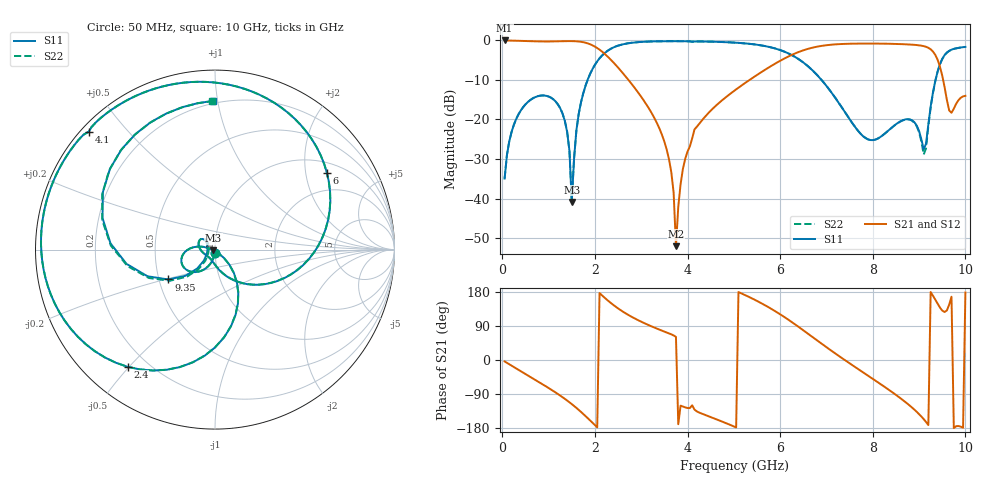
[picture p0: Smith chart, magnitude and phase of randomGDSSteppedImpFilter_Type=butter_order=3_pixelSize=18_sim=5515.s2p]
! freq	dB(S11)	phase(S11)	dB(S12)	phase(S12)
!  dB(S21)	phase(S21)	dB(S22)	phase(S22)
!S-par simulation data
#  GHz  S  DB  R 50
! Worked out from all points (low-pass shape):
!   200 points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, 50 MHz to 10 GHz, reference 50 ohm
!   highest |S21| = -0.01 dB at 50 MHz (marker M1); lowest = -52.1 dB at 3.75 GHz (marker M2)
!   |S21| within 3 dB of the highest: start of sweep to 2.172 GHz; 6.382 GHz to 9.312 GHz (2.929 GHz wide, 37.3 % of centre)
!   lowest |S11| = -40.9 dB at 1.5 GHz (marker M3), VSWR 1.02, Z = 49.2 - j0.303 ohm
!   |S11| at or under -10 dB: start of sweep to 1.843 GHz; 6.894 GHz to 9.355 GHz (2.461 GHz wide, 30.3 % of centre)
!   |S22| runs from -40.5 to -0.2 dB; largest |S21 - S12| = 0
!   S11 on the Smith chart (normalised r, x): 50 MHz: 1.00, -0.04; 2.4 GHz: 0.13, -0.49; 4.1 GHz: 0.02, +0.40; 6 GHz: 1.33, +2.64; 9.35 GHz: 0.56, -0.21; 10 GHz: 0.18, +0.97
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0.05  -34.95 -93.2  -0.01 -3.8  -0.01 -3.8  -34.94 -93.2
0.35  -18.69 -116.3  -0.10 -26.0  -0.10 -26.0  -18.70 -116.3
1  -14.19 -163.8  -0.27 -73.9  -0.27 -73.9  -14.19 -163.8
1.35  -20.33 169.8  -0.18 -102.4  -0.18 -102.4  -20.33 170.1
1.5  -40.90 -160.1  -0.17 -116.3  -0.17 -116.3  -40.51 -157.8
1.6  -22.77 -43.1  -0.22 -126.3  -0.22 -126.3  -22.76 -43.6
1.75  -13.29 -55.9  -0.45 -142.6  -0.45 -142.6  -13.29 -56.1
2.4  -1.78 -126.7  -5.58 145.1  -5.58 145.1  -1.78 -126.8
3.4  -0.22 168.6  -22.49 79.8  -22.49 79.8  -0.22 168.6
3.65  -0.19 156.9  -33.37 67.7  -33.37 67.7  -0.19 156.9
3.75  -0.19 152.4  -52.05 61.0  -52.05 61.0  -0.19 152.4
3.85  -0.20 147.9  -36.37 -120.5  -36.37 -120.5  -0.20 147.9
4.1  -0.33 136.9  -24.79 -119.6  -24.79 -119.6  -0.34 136.8
5.05  -0.58 93.1  -12.38 -178.0  -12.38 -178.0  -0.58 93.1
6  -2.44 34.3  -5.15 120.6  -5.15 120.6  -2.44 34.4
6.7  -7.59 -22.4  -1.83 60.5  -1.83 60.5  -7.59 -22.2
7.5  -19.93 -83.3  -0.84 -8.8  -0.84 -8.8  -19.91 -82.5
8.35  -22.65 -171.5  -0.84 -78.9  -0.84 -78.9  -22.68 -171.6
9.1  -27.56 165.0  -1.45 -156.1  -1.45 -156.1  -28.87 161.4
9.35  -10.21 -147.4  -3.66 159.1  -3.66 159.1  -10.31 -145.3
9.6  -3.07 152.8  -15.03 130.7  -15.03 130.7  -3.10 153.8
10  -1.63 90.8  -14.03 177.9  -14.03 177.9  -1.64 91.2
